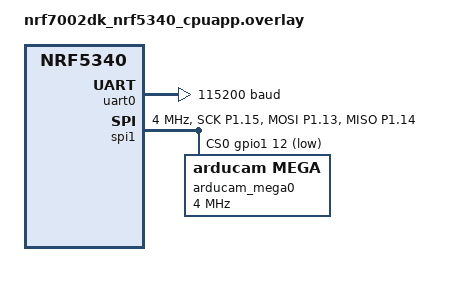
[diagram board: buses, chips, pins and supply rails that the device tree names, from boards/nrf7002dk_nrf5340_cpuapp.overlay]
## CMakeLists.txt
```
#
# Copyright (c) 2022 Nordic Semiconductor ASA
#
# SPDX-License-Identifier: LicenseRef-Nordic-5-Clause
#

cmake_minimum_required(VERSION 3.20.0)

find_package(Zephyr REQUIRED HINTS $ENV{ZEPHYR_BASE})
project(ncs251_sta)

target_include_directories(app PUBLIC ${ZEPHYR_BASE}/subsys/net/ip)

target_sources(app PRIVATE
	src/main.c
)
```

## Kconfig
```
#
# Copyright (c) 2022 Nordic Semiconductor
#
# SPDX-License-Identifier: LicenseRef-Nordic-5-Clause
#

source "Kconfig.zephyr"

menu "Nordic Sta sample"

config CONNECTION_IDLE_TIMEOUT
	int "Time to be waited for a station to connect"
	default 30

config STA_SAMPLE_SSID
	string "SSID"
	help
	  Specify the SSID to connect

choice  STA_KEY_MGMT_SELECT
	prompt "Security Option"
	default STA_KEY_MGMT_WPA3

config STA_KEY_MGMT_NONE
	bool "Open Security"
	help
	  Enable for Open Security

config STA_KEY_MGMT_WPA2
	bool "WPA2 Security"
	help
	  Enable for WPA2 Security

config STA_KEY_MGMT_WPA2_256
	bool "WPA2 SHA 256 Security"
	help
	  Enable for WPA2-PSK-256 Security

config STA_KEY_MGMT_WPA3
	bool "WPA3 Security"
	help
	  Enable for WPA3 Security
endchoice

config STA_SAMPLE_PASSWORD
	string "Passphrase (WPA2) or password (WPA3)"
	help
	  Specify the Password to connect

config NRF700X_QSPI_ENCRYPTION_KEY
	string "16 bytes QSPI encryption key, only for testing purposes"
	depends on BOARD_NRF7002DK_NRF5340_CPUAPP
	help
	  Specify the QSPI encryption key

config STA_CONN_TIMEOUT_SEC
	int "Overall Connection timeout i.e., time to be waited for a station to connect and get an IP address"
	# Zephyr DHCP retry is 1 minute, so set the default to 70 seconds
	default 70
	# 512 has no special meaning, just a reasonable upper limit
	range 0 512
	help
	  Specify the connection timeout, in seconds. This is the overall timeout i.e., time to be waited for
	  a station to connect and get an IP address. DHCP retries should be taken into account when setting
	  this value. If the timeout is set to 0, the connection will not timeout.

config UDP_SAMPLE_DATA_UPLOAD_SIZE_BYTES
	int "Number of bytes transmitted to the server"
	default 10

config UDP_SAMPLE_DATA_UPLOAD_FREQUENCY_SECONDS
	int "How often data is transmitted to the server"
	default 30

config UDP_SAMPLE_SERVER_ADDRESS_STATIC
	string "UDP server IP address"
	default "8.8.8.8"

config UDP_SAMPLE_SERVER_PORT
	int "UDP server port number"
	default "2469"

endmenu
```

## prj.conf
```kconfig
#
# Copyright (c) 2022 Nordic Semiconductor ASA
#
# SPDX-License-Identifier: LicenseRef-Nordic-5-Clause
#

# Wi-Fi
# Enable the Wi-Fi relevant configurations
CONFIG_WIFI=y
CONFIG_WIFI_NRF700X=y
CONFIG_WPA_SUPP=y

# Configure the Wi-Fi credentials
CONFIG_WIFI_CREDENTIALS=y
CONFIG_WIFI_CREDENTIALS_STATIC=n

# Networking Management API
# Enable the Network Management relevant configurations
CONFIG_NET_MGMT=y
CONFIG_NET_MGMT_EVENT=y
CONFIG_NET_MGMT_EVENT_INFO=y
CONFIG_NET_MGMT_EVENT_STACK_SIZE=4096
CONFIG_NET_CONNECTION_MANAGER=y
CONFIG_WIFI_MGMT_EXT=y

# Enable support for shell commands
CONFIG_SHELL=y
CONFIG_WIFI_CREDENTIALS_SHELL=y
CONFIG_SHELL_STACK_SIZE=4096

# Logging
CONFIG_LOG=y

# DK library
CONFIG_DK_LIBRARY=y

# System settings
CONFIG_NEWLIB_LIBC=y
CONFIG_NEWLIB_LIBC_NANO=n

# Networking
CONFIG_NETWORKING=y
CONFIG_NET_NATIVE=y
CONFIG_NET_SOCKETS=y
CONFIG_NET_L2_ETHERNET=y
CONFIG_NET_IPV6=n
CONFIG_NET_IPV4=y
CONFIG_NET_DHCPV4=y

# Memory
CONFIG_SYSTEM_WORKQUEUE_STACK_SIZE=4096
CONFIG_MAIN_STACK_SIZE=4096
CONFIG_HEAP_MEM_POOL_SIZE=153600
```

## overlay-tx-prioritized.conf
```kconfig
CONFIG_WPA_SUPP=y
CONFIG_NRF700X_AP_MODE=n 
CONFIG_NRF700X_P2P_MODE=n 
CONFIG_NET_PKT_TX_COUNT=32 
CONFIG_NET_PKT_RX_COUNT=5
CONFIG_NET_BUF_TX_COUNT=64 
CONFIG_NET_BUF_RX_COUNT=5
CONFIG_NRF700X_RX_NUM_BUFS=5
CONFIG_NET_BUF_DATA_SIZE=1100 
CONFIG_HEAP_MEM_POOL_SIZE=250000 
CONFIG_SPEED_OPTIMIZATIONS=y 
CONFIG_NRF700X_UTIL=n 
CONFIG_NRF700X_MAX_TX_AGGREGATION=9 
CONFIG_NRF700X_MAX_TX_TOKENS=12
CONFIG_NET_TCP=n

# Enable fragment
CONFIG_NET_IPV4_FRAGMENT=y
CONFIG_NET_IPV4_FRAGMENT_MAX_COUNT=16
CONFIG_NET_IPV4_FRAGMENT_TIMEOUT=15
CONFIG_NET_IPV4_FRAGMENT_MAX_PKT=8
```

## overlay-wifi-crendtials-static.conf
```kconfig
# Enable static Wi-Fi network configuration
CONFIG_WIFI_CREDENTIALS_STATIC=y
CONFIG_WIFI_CREDENTIALS_STATIC_SSID="CS"
CONFIG_WIFI_CREDENTIALS_STATIC_PASSWORD="Charlie40396615"

# Disable support for shell commands
CONFIG_SHELL=n
# CONFIG_WIFI_CREDENTIALS_SHELL=n
```

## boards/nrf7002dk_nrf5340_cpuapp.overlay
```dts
&uart0{
	current-speed = <115200>;
};

&pinctrl {

	spi1_default: spi1_default {
			group1 {
					psels = <NRF_PSEL(SPIM_SCK, 1, 15)>,
							<NRF_PSEL(SPIM_MOSI, 1, 13)>,
							<NRF_PSEL(SPIM_MISO, 1, 14)>;
			};
	};

	spi1_sleep: spi1_sleep {
			group1 {
					psels = <NRF_PSEL(SPIM_SCK, 1, 15)>,
							<NRF_PSEL(SPIM_MOSI, 1, 14)>,
							<NRF_PSEL(SPIM_MISO, 1, 13)>;
					low-power-enable;
			};
	};
};

&spi1 {
	clock-frequency = <4000000>;
	compatible = "nordic,nrf-spim";
	status = "okay";
	pinctrl-0 = <&spi1_default>;
	pinctrl-1 = <&spi1_sleep>;
	pinctrl-names = "default", "sleep";
	cs-gpios = <&gpio1 12 GPIO_ACTIVE_LOW>;
	arducam_mega0:arducam-mega0@0 {
			compatible = "arducam,mega";
			reg = <0>;
			spi-max-frequency = <4000000>;
			status = "okay";
	};
};
```

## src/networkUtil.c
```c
/*
 * Copyright (c) 2023 Nordic Semiconductor ASA
 *
 * SPDX-License-Identifier: LicenseRef-Nordic-5-Clause
 */
#include <zephyr/logging/log.h>
LOG_MODULE_REGISTER(WiFiNetSockets, LOG_LEVEL_INF);

#include <errno.h>
#include <stddef.h>
#include <string.h>
#include <stdio.h>
#include <zephyr/kernel.h>
#include <zephyr/types.h>
/* Macro called upon a fatal error, reboots the device. */
#include <zephyr/sys/reboot.h>

/* Include the necessary header files */
#include <zephyr/net/net_if.h>
#include <zephyr/net/wifi.h>
#include <zephyr/net/wifi_mgmt.h>
#include <zephyr/net/net_mgmt.h>
#include <zephyr/net/net_event.h>
#include <zephyr/net/socket.h>
#include <net/wifi_mgmt_ext.h>

/* Include the header file for the Wi-FI credentials library */
#include <net/wifi_credentials.h>

#include <dk_buttons_and_leds.h>

#include <zephyr/logging/log_ctrl.h>
#define FATAL_ERROR()					\
	LOG_ERR("Fatal error! Rebooting the device.");	\
	LOG_PANIC();					\
	IF_ENABLED(CONFIG_REBOOT, (sys_reboot(0)))

/* size of stack area used by each thread */
#define STACKSIZE 4096
/* scheduling priority used by each thread */
#define PRIORITY 7

/* WiFi Command max size*/
#define BUFFER_MAX_SIZE 6 

/* Define a macro for the relevant network events */
#define L2_EVENT_MASK (NET_EVENT_WIFI_CONNECT_RESULT | NET_EVENT_WIFI_DISCONNECT_RESULT)
#define L3_EVENT_MASK NET_EVENT_IPV4_DHCP_BOUND

/* Declare the callback structure for Wi-Fi events */
static struct net_mgmt_event_callback wifi_mgmt_cb;
static struct net_mgmt_event_callback net_mgmt_cb;

/* Define the boolean wifi_connected and the semaphore wifi_net_ready */
static bool wifi_connected;
static K_SEM_DEFINE(wifi_net_ready, 0, 1);

uint8_t udp_recv_buf[BUFFER_MAX_SIZE];
K_MSGQ_DEFINE(udp_recv_queue, sizeof(udp_recv_buf), 1, 4);

/*
** Two sockets are use by UDP Server(WiFiCam+nRF7002DK)
** UDP Client(WiFiCamHost+PC):50000 <- UDP Server(WiFiCam+nRF7002DK):60000 = socket_recv
** UDP Client(WiFiCamHost+PC):50005 -> UDP Server(WiFiCam+nRF7002DK):60006 = socket_send
** socket_recv is built by UDP server to wait for UDP client connet to its address, then server can know client address.
** the server build a new socket_send to send WiFiCam data like camera info, video frame to client. The previous socket_recv is 
** used to recive command from UDP client. 
*/
static int socket_send;
struct sockaddr_in server_addr;

static int cmd_wifi_status(void)
{
	struct net_if *iface = net_if_get_default();
	struct wifi_iface_status status = { 0 };

	if (net_mgmt(NET_REQUEST_WIFI_IFACE_STATUS, iface, &status,
				sizeof(struct wifi_iface_status))) {
		LOG_INF("Status request failed");

		return -ENOEXEC;
	}

	LOG_INF("==================");
	LOG_INF("WiFi State: %s", wifi_state_txt(status.state));

	if (status.state >= WIFI_STATE_ASSOCIATED) {
		LOG_INF("Interface Mode: %s",
		       wifi_mode_txt(status.iface_mode));
		LOG_INF("Link Mode: %s",
		       wifi_link_mode_txt(status.link_mode));
		LOG_INF("SSID: %-32s", status.ssid);
		LOG_INF("Band: %s", wifi_band_txt(status.band));
		LOG_INF("Channel: %d", status.channel);
		LOG_INF("Security: %s", wifi_security_txt(status.security));
		LOG_INF("MFP: %s", wifi_mfp_txt(status.mfp));
		LOG_INF("RSSI: %d", status.rssi);
	}
	return 0;
}

static void wifi_mgmt_event_handler(struct net_mgmt_event_callback *cb,
				     uint32_t mgmt_event, struct net_if *iface)
{
	switch (mgmt_event) {
	case NET_EVENT_WIFI_CONNECT_RESULT:
		LOG_INF("WiFi connected");
		wifi_connected = true;
		break;
	case NET_EVENT_WIFI_DISCONNECT_RESULT:
		if (wifi_connected == false) {
			LOG_INF("Waiting for WiFi to be wifi_connected");
		} else {
			dk_set_led_off(DK_LED1);
			LOG_INF("WiFi disconnected");
			wifi_connected = false;
		}
		k_sem_reset(&wifi_net_ready);
		break;
	default:
		break;
	}
    cmd_wifi_status();
}

static void on_net_event_dhcp_bound(struct net_mgmt_event_callback *cb)
{
	/* Get DHCP info from struct net_if_dhcpv4 and print */
	const struct net_if_dhcpv4 *dhcpv4 = cb->info;
	const struct in_addr *addr = &dhcpv4->requested_ip;
	char dhcp_info[128];
	net_addr_ntop(AF_INET, addr, dhcp_info, sizeof(dhcp_info));

	LOG_INF("WiFi Camera Server is ready on nRF7002DK, listening on %s:%d", dhcp_info,60000);
}

/* Define the callback function for network events */
static void net_mgmt_event_handler(struct net_mgmt_event_callback *cb,
			  uint32_t mgmt_event, struct net_if *iface)
{
	if ((mgmt_event & L3_EVENT_MASK) != mgmt_event) {
		return;
	}

	if (mgmt_event == NET_EVENT_IPV4_DHCP_BOUND) {
		LOG_INF("Network DHCP bound");
		on_net_event_dhcp_bound(cb);
		dk_set_led_on(DK_LED1);
		k_sem_give(&wifi_net_ready);
		return;
	}
}

#if defined(CONFIG_WIFI_CREDENTIALS_STATIC) 
/* Define the function to populate the Wi-Fi credential parameters */
static int wifi_args_to_params(struct wifi_connect_req_params *params)
{

	/* Populate the SSID and password */
	params->ssid = CONFIG_WIFI_CREDENTIALS_STATIC_SSID;
	params->ssid_length = strlen(params->ssid);

	params->psk = CONFIG_WIFI_CREDENTIALS_STATIC_PASSWORD;
	params->psk_length = strlen(params->psk);

	/* Populate the rest of the relevant members */
	params->channel = WIFI_CHANNEL_ANY;
	params->security = WIFI_SECURITY_TYPE_PSK;
	params->mfp = WIFI_MFP_OPTIONAL;
	params->timeout = SYS_FOREVER_MS;

	return 0;
}
#endif 

static int wifi_network_ready(void){
        #if defined(CONFIG_WIFI_CREDENTIALS_STATIC) 
	/* Declare the variable for the network configuration parameters */
	struct wifi_connect_req_params cnx_params;

	/* Get the network interface */
	struct net_if *iface = net_if_get_first_wifi();
	if (iface == NULL) {
		LOG_ERR("Returned network interface is NULL");
		return -1;
	}
	#endif

	if (dk_leds_init() != 0) {
		LOG_ERR("Failed to initialize the LED library");
	}

	/* Sleep to allow initialization of Wi-Fi driver */
	k_sleep(K_SECONDS(1));

	/* Initialize and add the callback function for network events */
	net_mgmt_init_event_callback(&wifi_mgmt_cb, wifi_mgmt_event_handler, L2_EVENT_MASK);
	net_mgmt_add_event_callback(&wifi_mgmt_cb);

	net_mgmt_init_event_callback(&net_mgmt_cb, net_mgmt_event_handler, L3_EVENT_MASK);
	net_mgmt_add_event_callback(&net_mgmt_cb);

	#if defined(CONFIG_WIFI_CREDENTIALS_STATIC) 
	/* Populate cnx_params with the network configuration */
	wifi_args_to_params(&cnx_params);

	/* Call net_mgmt() to request the Wi-Fi connection */
	LOG_INF("Connecting to Wi-Fi with static crendentials.");
	int err = net_mgmt(NET_REQUEST_WIFI_CONNECT, iface, &cnx_params, sizeof(struct wifi_connect_req_params));
	if (err) {
		LOG_ERR("Connecting to Wi-Fi failed, err: %d", err);
		return ENOEXEC;
	}
	#endif
        
        k_sem_take(&wifi_net_ready, K_FOREVER);

	return 0;
}

/* Thread to setup WiFi, Network, Sockets step by step */
static void wifi_net_sockets(void){
        int ret;
        static int socket_recv;
        struct sockaddr_in client_addr;
        socklen_t client_addr_len;
        char addr_str[32];
        
        ret = wifi_network_ready();
        if (ret < 0) {
		LOG_ERR("wifi network connection is not ready, error: %d", -errno);
		FATAL_ERROR();
		return;
	}

        socket_recv = socket(AF_INET, SOCK_DGRAM, IPPROTO_UDP);
	if (socket_recv < 0) {
		LOG_ERR("Failed to create UDP socket: %d", -errno);
		FATAL_ERROR();
		return;
	}
        
        server_addr.sin_family = AF_INET;
	server_addr.sin_addr.s_addr = htonl(INADDR_ANY);
	server_addr.sin_port = htons(60000);

        ret =  bind(socket_recv, (struct sockaddr *)&server_addr, sizeof(server_addr));
        if (ret < 0) {
		LOG_ERR("bind, error: %d", -errno);
		FATAL_ERROR();
		return;
	}
        ret = recvfrom(socket_recv, udp_recv_buf, sizeof(udp_recv_buf),0, (struct sockaddr* )&client_addr, &client_addr_len);
	if (ret < 0) {
		LOG_ERR("recvfrom, error: %d", -errno);
		//FATAL_ERROR();
		return;
	}
        k_msgq_put(&udp_recv_queue, &udp_recv_buf, K_NO_WAIT);

        inet_ntop(client_addr.sin_family, &client_addr.sin_addr,addr_str, sizeof(addr_str));
        LOG_INF("UDP Client(WiFiCamHost) IPAddr = %s, Port = %d\n", addr_str, ntohs(client_addr.sin_port));
        
        socket_send = socket(AF_INET, SOCK_DGRAM, IPPROTO_UDP);
	if (socket_send < 0) {
		LOG_ERR("Failed to create UDP socket: %d", -errno);
		FATAL_ERROR();
		return;
	}
	
	server_addr.sin_family = AF_INET;
	server_addr.sin_addr.s_addr = htonl(INADDR_ANY);
	server_addr.sin_port = htons(60006);
        ret =  bind(socket_send, (struct sockaddr *)&server_addr, sizeof(server_addr));
        if (ret < 0) {
		LOG_ERR("bind, error: %d", -errno);
		FATAL_ERROR();
		return;
	}

        client_addr.sin_port = htons(50005);
        ret =  connect(socket_send, (struct sockaddr *)&client_addr, sizeof(struct sockaddr_in));
        if (ret < 0) {
                LOG_ERR("connect, error: %d", -errno);
                FATAL_ERROR();
                return;
        }
        LOG_INF("Sockets are ready!");
        
        while(1){
                ret = recvfrom(socket_recv, udp_recv_buf, sizeof(udp_recv_buf),0, (struct sockaddr* )&client_addr, &client_addr_len);
                if (ret < 0) {
                        LOG_ERR("[%d] Cannot receive udp message (%d)", ret,
                                -errno);
                        return;
                }
                k_msgq_put(&udp_recv_queue, &udp_recv_buf, K_NO_WAIT);
                k_yield();
        }
}

K_THREAD_DEFINE( wifi_net_sockets_id, STACKSIZE, wifi_net_sockets, NULL, NULL, NULL,
		PRIORITY, 0, 0);
```
